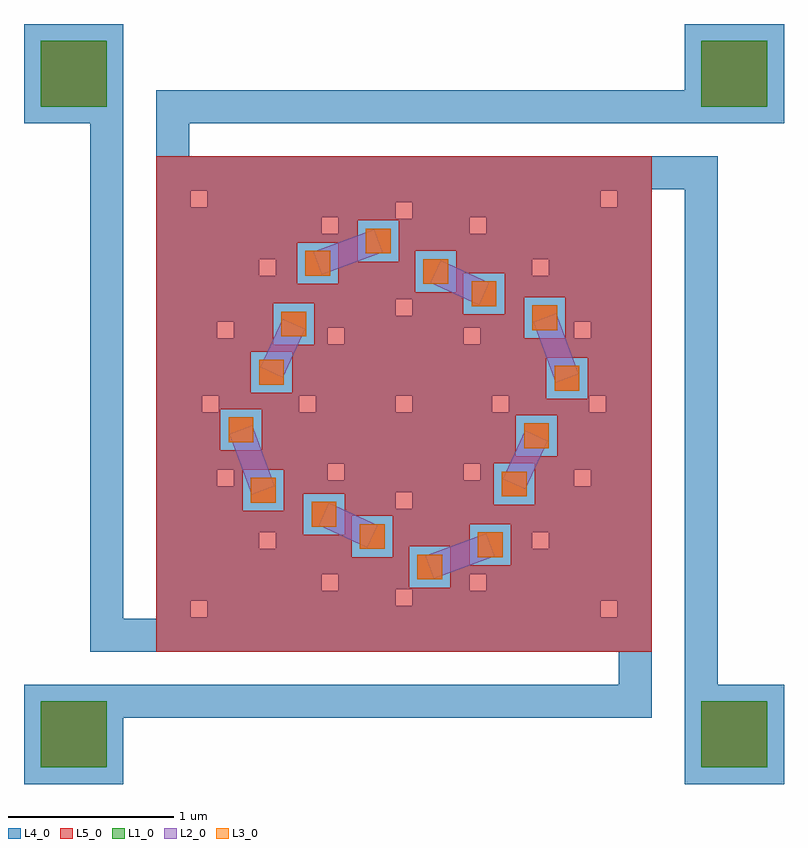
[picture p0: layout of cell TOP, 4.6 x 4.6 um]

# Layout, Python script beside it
# Stanford NEM Relay CAD Model
# Author: Akash Levy

# Import klayout
from math import sin, cos, pi
import pya

# RELAY PARAMETERS (lengths are in units of nm)
n_sides = 4                 # number of polygon sides

g_act = 100                 # actuation gap: gap between c

t_poly = 200                # thickness of poly-SiGe layer
L_plate = 3000              # side length of parallel plate

L_cant = L_plate            # length of cantilever
W_cant = 200                # width of cantilever
g_cant = W_cant             # gap between plate and cantilever

L_via = 400                 # side length of via
L_anc = L_via + 200         # side length of anchor attachment

circ_cont = 1               # circular or grid contact mode
n_cont = 16                 # number of contacts
L_cont = 150                # side length of contact
r_cont = 1000                # radius of circle along which to place contacts
t_cont = 0.04               # thickness of contact
t_chan = 0.02               # thickness of channel

g_land = 50                 # spacing between landing pad

t_land = 0.1                # thickness of landing contact

t_sp = 0.025                # thickness of spacer

L_hole = 100                # side length of release hole
r_hole_pl = 0.78*L_plate/2  # distance from center
d_hole_pl = 200             # distance apart from release hole
max_hole = 2                # last hole to have full circle in range
n_hole = [1, 8, 16, 24]     # number of release holes at each layer

cont_rot_factor = 0.1       # contact rotation factor


# Create layout and top cell
layout = pya.Layout()
top = layout.create_cell("TOP")

# Rotation transformations
rotate = pya.ICplxTrans(1, 360/n_sides, False, 0, 0)
def ptrotate(pt, theta):
    x = pt[0] * cos(theta) - pt[1] * sin(theta)
    y = pt[0] * sin(theta) + pt[1] * cos(theta)
    return x, y

# Edge processor
ep = pya.EdgeProcessor()

# Create layers
nemanc = layout.layer(1, 0)
nemchan = layout.layer(2, 0)
nemcont = layout.layer(3, 0)
nembody = layout.layer(4, 0)
nemsub = layout.layer(5, 0)

# Create anchors
ancloc = L_plate/2 + W_cant + L_anc/2
ancloc = pya.Point(ancloc, ancloc)
anchor = pya.Box(-L_via/2, -L_via/2, L_via/2, L_via/2).move(ancloc)
for _ in range(n_sides):
    top.shapes(nemanc).insert(anchor)
    top.shapes(nemsub).insert(anchor)
    anchor = anchor.transformed(rotate)

# Create relay body
plate = pya.Box(-L_plate/2, -L_plate/2, L_plate/2, L_plate/2)
anchor = pya.Box(-L_anc/2, -L_anc/2, L_anc/2, L_anc/2).move(ancloc)
cantloc = pya.Point(-L_plate/2, L_plate/2)
cantatt = pya.Box(0, 0, W_cant, W_cant).moved(cantloc)
cant = pya.Box(0, W_cant, L_cant + 2 * W_cant, 2 * W_cant).moved(cantloc)
relaycomps = [plate]
for _ in range(n_sides):
    relaycomps += [anchor, cantatt, cant]
    anchor = anchor.transformed(rotate)
    cantatt = cantatt.transformed(rotate)
    cant = cant.transformed(rotate)
relay = ep.merge_to_polygon(relaycomps, 0, True, True)[0]

# Insert relay holes
bound = pya.Box(-r_hole_pl*1.1, -r_hole_pl*1.1, r_hole_pl*1.1, r_hole_pl*1.1)
for i, n in enumerate(n_hole):
    r = float(i) / max_hole * r_hole_pl
    for h in range(n):
        holeloc = pya.Point(r*cos(2*pi/n*h), r*sin(2*pi/n*h))
        if bound.contains(holeloc):
            hole = pya.Box(-L_hole/2, -L_hole/2, L_hole/2, L_hole/2).moved(holeloc)
            #top.shapes(nemholes).insert(hole)
            relay.insert_hole(hole)
top.shapes(nembody).insert(relay)

gate = ep.merge_to_polygon([plate], 0, True, True)[0]

# Create contact layer and landing pads
for i in range(n_cont):
    if i % 4 in [2, 3]:
        r_cont = 825
    else:
        r_cont = 1000
    contx = r_cont * cos(2*pi*(i+(0.5-cont_rot_factor))/n_cont)
    conty = r_cont * sin(2*pi*(i+(0.5-cont_rot_factor))/n_cont)
    contloc = pya.Point(contx, conty)
    cont = pya.Box(-L_cont/2, -L_cont/2, L_cont/2, L_cont/2).moved(contloc)
    padl = L_cont + g_land*2
    lgap = pya.Box(-padl/2, -padl/2, padl/2, padl/2).moved(contloc)
    top.shapes(nemcont).insert(cont)
    gate.insert_hole(lgap)
    top.shapes(nemsub).insert(cont)

# Create relay substrate
top.shapes(nemsub).insert(gate)

# Create channel layer
for i in range(n_cont/2):
    if i % 2 == 1:
        r_cont = 825
    else:
        r_cont = 1000
    chanlen = pi * r_cont / n_cont * 2
    chanpts = []
    chanpts.append((-chanlen/2, r_cont*cos(pi/n_cont) - L_cont/2))
    chanpts.append((-chanlen/2, r_cont*cos(pi/n_cont) + L_cont/2))
    chanpts.append((chanlen/2, r_cont*cos(pi/n_cont) + L_cont/2))
    chanpts.append((chanlen/2, r_cont*cos(pi/n_cont) - L_cont/2))
    chanpts = map(lambda pt : ptrotate(pt, pi/n_cont*2*(1-cont_rot_factor)), chanpts)
    chanpts = map(lambda pt : ptrotate(pt, 4 * pi * i/n_cont), chanpts)
    chan = pya.Polygon([pya.Point(*chanpt) for chanpt in chanpts])
    top.shapes(nemchan).insert(chan)

# Write drawing output
layout.write("relay_merged.gds")
layout.write("relay_merged.dxf")
layout.write("relay_merged.cif")
